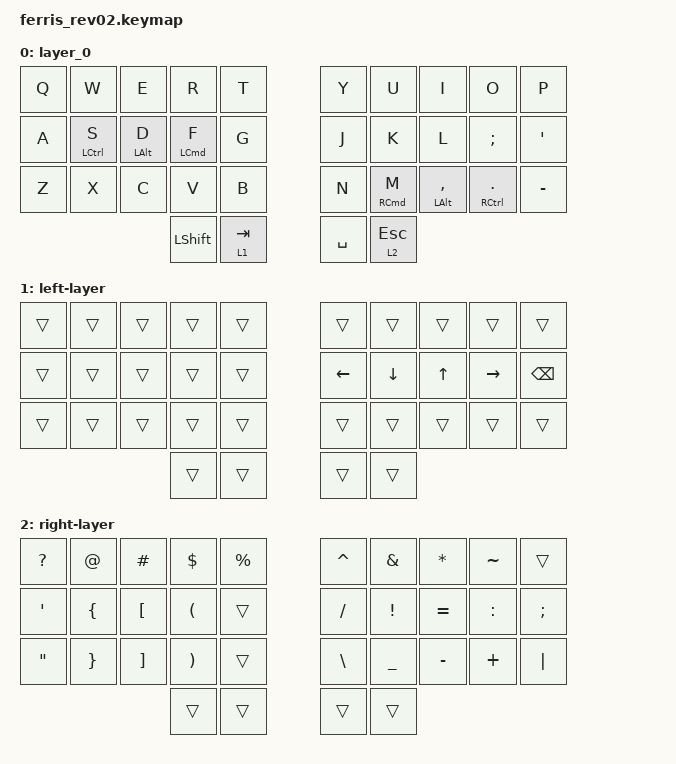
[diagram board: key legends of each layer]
/*
 * Copyright (c) 2020 The ZMK Contributors
 *
 * SPDX-License-Identifier: MIT
 */

#include <behaviors.dtsi>
#include <dt-bindings/zmk/keys.h>
#include <dt-bindings/zmk/bt.h>

#define NAV_L 1
#define OTHER_L 2
#define NUM_L 3
#define SYM_L 4

// Using layer taps on thumbs, having quick tap as well helps w/ repeating space/backspace
&lt { quick-tap-ms = <200>; };

#include <behaviors.dtsi>
#include <dt-bindings/zmk/keys.h>

/ {
    keymap {
        compatible = "zmk,keymap";

        layer_0 {
            bindings = <
&kp Q  &kp W               &kp E           &kp R               &kp T        &kp Y      &kp U                &kp I               &kp O                  &kp P
&kp A  &mt LEFT_CONTROL S  &mt LEFT_ALT D  &mt LEFT_COMMAND F  &kp G        &kp J      &kp K                &kp L               &kp SEMICOLON          &kp SINGLE_QUOTE
&kp Z  &kp X               &kp C           &kp V               &kp B        &kp N      &mt RIGHT_COMMAND M  &mt LEFT_ALT COMMA  &mt RIGHT_CONTROL DOT  &kp MINUS
                                           &kp LSHIFT          &lt 1 TAB    &kp SPACE  &lt 2 ESCAPE
            >;
        };

        left-layer {
            bindings = <
&trans  &trans  &trans  &trans  &trans    &trans    &trans    &trans  &trans     &trans
&trans  &trans  &trans  &trans  &trans    &kp LEFT  &kp DOWN  &kp UP  &kp RIGHT  &kp BSPC
&trans  &trans  &trans  &trans  &trans    &trans    &trans    &trans  &trans     &trans
                        &trans  &trans    &trans    &trans
            >;
        };

        right-layer {
            bindings = <
&kp QUESTION       &kp AT           &kp HASH           &kp DOLLAR             &kp PRCNT    &kp CARET      &kp AMPERSAND    &kp ASTERISK  &kp TILDE  &trans
&kp SINGLE_QUOTE   &kp LEFT_BRACE   &kp LEFT_BRACKET   &kp LEFT_PARENTHESIS   &trans       &kp SLASH      &kp EXCLAMATION  &kp EQUAL     &kp COLON  &kp SEMICOLON
&kp DOUBLE_QUOTES  &kp RIGHT_BRACE  &kp RIGHT_BRACKET  &kp RIGHT_PARENTHESIS  &trans       &kp BACKSLASH  &kp UNDERSCORE   &kp MINUS     &kp PLUS   &kp PIPE
                                                       &trans                 &trans       &trans         &trans
            >;
        };
    };
};
